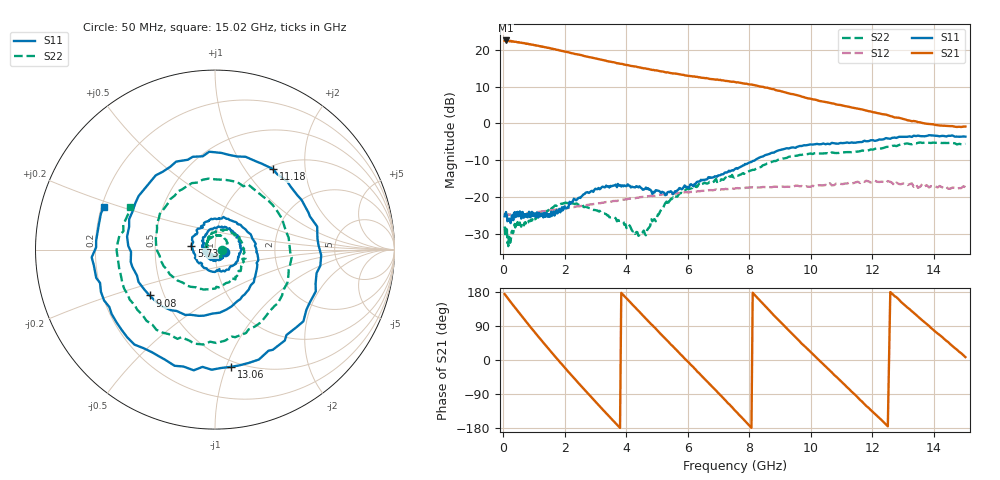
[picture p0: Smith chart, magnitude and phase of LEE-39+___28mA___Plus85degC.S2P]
! Mini-Circuits
! S2P DATA File Format
! Type: MMIC Amplifier
! Model: LEE-39+
! TEST CONDITIONS: INPUT POWER = -25dBm, Icc = 28mA, Vd = 3.43V @Temperature = +85degC
! 401 Frequency points
! S Parameters are in dB deg format
# MHz S DB R 50
!  FREQ  dB(S11)  PHS(S11)  dB(S21)  PHS(S21)  dB(S12)  PHS(S12)  dB(S22)  PHS(S22)
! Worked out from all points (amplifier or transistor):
!   401 points, 50 MHz to 15.02 GHz, reference 50 ohm
!   highest |S21| = 22.5 dB at 80 MHz (marker M1)
!   |S21| within 3 dB of that: start of sweep to 1.994 GHz
!   unconditionally stable (mu >= 1): start of sweep to end of sweep
!   at 1.04 GHz: K = 1.05, MAG = 21.3 dB, |S12| = -24.0 dB
!   at 4.57 GHz: K = 1.15, MAG = 15.1 dB, |S12| = -19.9 dB
!   at 15.02 GHz: K = 1.64, MAG = 3.5 dB, |S12| = -17.3 dB
!   S11 on the Smith chart (normalised r, x): 50 MHz: 1.11, -0.03; 5.73 GHz: 0.77, +0.04; 9.08 GHz: 0.42, -0.27; 11.18 GHz: 1.05, +1.36; 13.06 GHz: 0.45, -1.04; 15.02 GHz: 0.21, +0.18
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50  -25.14 -13.4  22.41 174.1  -24.68 -2.4  -27.91 -5.7
80  -24.82 -9.0  22.50 170.9  -24.95 -4.9  -30.77 -22.0
425  -25.20 -48.3  22.14 134.1  -24.62 -23.1  -28.38 -101.0
770  -24.53 -82.2  21.57 99.1  -24.33 -42.5  -26.38 -145.0
1100  -24.09 -111.6  21.08 66.3  -24.02 -61.6  -25.49 167.3
1505  -24.85 -155.5  20.44 26.8  -23.55 -86.0  -23.36 111.2
1985  -22.62 159.8  19.52 -18.2  -23.03 -115.1  -21.57 70.8
2580  -19.53 113.0  18.42 -72.8  -22.28 -152.8  -21.93 28.2
3170  -17.62 68.3  17.29 -125.1  -21.59 168.0  -24.05 -15.6
3660  -16.56 32.3  16.45 -167.4  -20.96 135.6  -25.69 -43.2
4430  -17.01 -33.6  15.20 127.2  -20.02 82.4  -30.18 -129.6
5060  -18.25 -104.9  14.24 74.1  -19.38 37.3  -24.60 133.4
5730  -17.49 170.2  13.32 17.9  -18.80 -10.8  -19.07 77.3
6670  -14.54 75.5  12.18 -60.3  -18.15 -79.6  -16.15 4.4
7550  -12.22 -11.2  11.18 -134.3  -17.59 -145.0  -14.23 -63.8
8240  -9.63 -73.9  10.26 166.1  -17.34 162.1  -12.15 -123.0
9080  -7.02 -145.0  8.62 94.7  -17.08 99.5  -9.49 169.6
10060  -5.71 139.4  6.55 15.9  -16.88 27.1  -8.27 104.2
11180  -5.14 54.2  4.59 -72.2  -16.27 -54.9  -7.75 26.6
12580  -4.14 -50.1  2.02 179.2  -15.81 -162.9  -6.33 -67.2
13060  -3.62 -82.1  1.11 144.1  -16.26 160.4  -5.47 -96.8
15020  -3.56 159.1  -0.83 7.7  -17.27 29.0  -5.50 153.7
